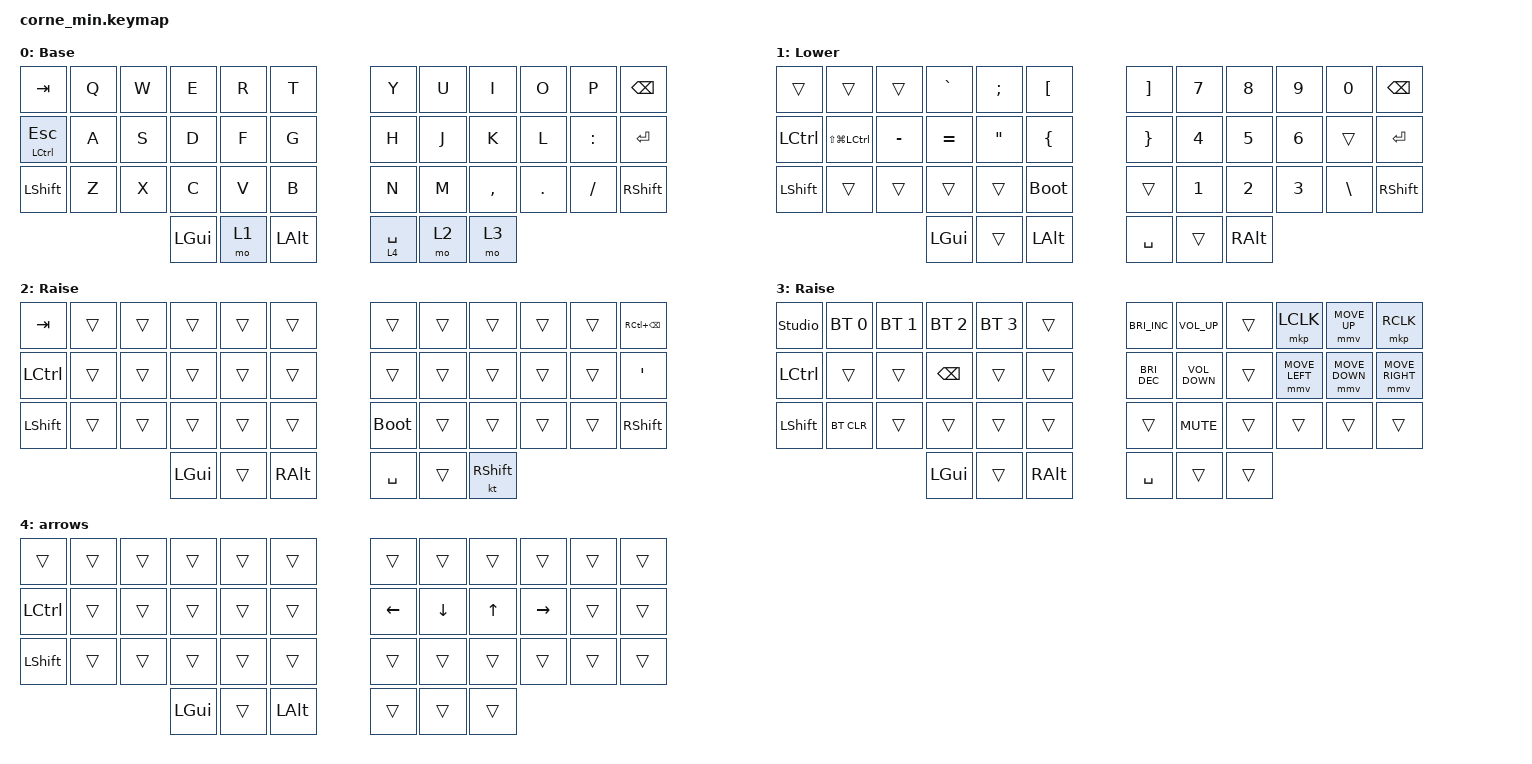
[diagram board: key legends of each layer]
/*
 * Copyright (c) 2020 The ZMK Contributors
 *
 * SPDX-License-Identifier: MIT
 */

#define ZMK_POINTING_DEFAULT_MOVE_VAL 1500 // default 600

#include <behaviors.dtsi>
#include <dt-bindings/zmk/bt.h>
#include <dt-bindings/zmk/keys.h>
#include <dt-bindings/zmk/pointing.h>

&caps_word {
};

/ {
    keymap {
        compatible = "zmk,keymap";

        default_layer {
            display-name = "Base";

            // -----------------------------------------------------------------------------------------
            // |  TAB |  Q  |  W  |  E  |  R  |  T  |   |  Y  |  U   |  I  |  O  |  P  | BSPC |
            // | CTRL |  A  |  S  |  D  |  F  |  G  |   |  H  |  J   |  K  |  L  |  ;  |  '   |
            // | SHFT |  Z  |  X  |  C  |  V  |  B  |   |  N  |  M   |  ,  |  .  |  /  | ESC  |
            //                    | GUI | LWR | SPC |   | ENT | RSE  | ALT |

            bindings = <
&kp TAB           &kp Q  &kp W  &kp E     &kp R  &kp T       &kp Y        &kp U  &kp I      &kp O    &kp P      &kp BSPC
&mt LCTRL ESCAPE  &kp A  &kp S  &kp D     &kp F  &kp G       &kp H        &kp J  &kp K      &kp L    &kp COLON  &kp ENTER
&kp LSHFT         &kp Z  &kp X  &kp C     &kp V  &kp B       &kp N        &kp M  &kp COMMA  &kp DOT  &kp FSLH   &kp RIGHT_SHIFT
                                &kp LGUI  &mo 1  &kp LALT    &lt 4 SPACE  &mo 2  &mo 3
            >;
        };

        lower_layer {
            display-name = "Lower";

            // -----------------------------------------------------------------------------------------
            // |  TAB |  1  |  2  |  3  |  4  |  5  |   |  6  |  7  |  8  |  9  |  0  | BSPC |
            // | BTCLR| BT1 | BT2 | BT3 | BT4 | BT5 |   | LFT | DWN |  UP | RGT |     |      |
            // | SHFT |     |     |     |     |     |   |     |     |     |     |     |      |
            //                    | GUI |     | SPC |   | ENT |     | ALT |

            bindings = <
&trans     &trans             &trans     &kp GRAVE  &kp SEMI           &kp LEFT_BRACKET    &kp RIGHT_BRACKET  &kp N7  &kp N8    &kp N9  &kp N0         &kp BSPC
&kp LCTRL  &kp LS(LG(LCTRL))  &kp MINUS  &kp EQUAL  &kp DOUBLE_QUOTES  &kp LEFT_BRACE      &kp RIGHT_BRACE    &kp N4  &kp N5    &kp N6  &trans         &kp ENTER
&kp LSHFT  &trans             &trans     &trans     &trans             &bootloader         &trans             &kp N1  &kp N2    &kp N3  &kp BACKSLASH  &kp RIGHT_SHIFT
                                         &kp LGUI   &trans             &kp LEFT_ALT        &kp SPACE          &trans  &kp RALT
            >;
        };

        raise_layer {
            display-name = "Raise";

            // -----------------------------------------------------------------------------------------
            // |  TAB |  !  |  @  |  #  |  $  |  %  |   |  ^  |  &  |  *  |  (  |  )  | BSPC |
            // | CTRL |     |     |     |     |     |   |  -  |  =  |  [  |  ]  |  \  |  `   |
            // | SHFT |     |     |     |     |     |   |  _  |  +  |  {  |  }  | "|" |  ~   |
            //                    | GUI |     | SPC |   | ENT |     | ALT |

            bindings = <
&kp TAB    &trans  &trans  &trans    &trans  &trans      &trans       &trans  &trans           &trans  &trans  &kp RC(BSPC)
&kp LCTRL  &trans  &trans  &trans    &trans  &trans      &trans       &trans  &trans           &trans  &trans  &kp SINGLE_QUOTE
&kp LSHFT  &trans  &trans  &trans    &trans  &trans      &bootloader  &trans  &trans           &trans  &trans  &kp RIGHT_SHIFT
                           &kp LGUI  &trans  &kp RALT    &kp SPACE    &trans  &kt RIGHT_SHIFT
            >;
        };

        misc {
            display-name = "Raise";
            bindings = <
&studio_unlock  &bt BT_SEL 0  &bt BT_SEL 1  &bt BT_SEL 2   &bt BT_SEL 3  &trans      &kp C_BRIGHTNESS_INC  &kp C_VOLUME_UP    &trans  &mkp LCLK       &mmv MOVE_UP    &mkp RCLK
&kp LCTRL       &trans        &trans        &kp BACKSPACE  &trans        &trans      &kp C_BRIGHTNESS_DEC  &kp C_VOLUME_DOWN  &trans  &mmv MOVE_LEFT  &mmv MOVE_DOWN  &mmv MOVE_RIGHT
&kp LSHIFT      &bt BT_CLR    &trans        &trans         &trans        &trans      &trans                &kp K_MUTE         &trans  &trans          &trans          &trans
                                            &kp LGUI       &trans        &kp RALT    &kp SPACE             &trans             &trans
            >;
        };

        arrows {
            bindings = <
&trans          &trans  &trans  &trans    &trans  &trans      &trans    &trans    &trans  &trans     &trans  &trans
&kp LCTRL       &trans  &trans  &trans    &trans  &trans      &kp LEFT  &kp DOWN  &kp UP  &kp RIGHT  &trans  &trans
&kp LEFT_SHIFT  &trans  &trans  &trans    &trans  &trans      &trans    &trans    &trans  &trans     &trans  &trans
                                &kp LGUI  &trans  &kp LALT    &trans    &trans    &trans
            >;
        };
    };
};
